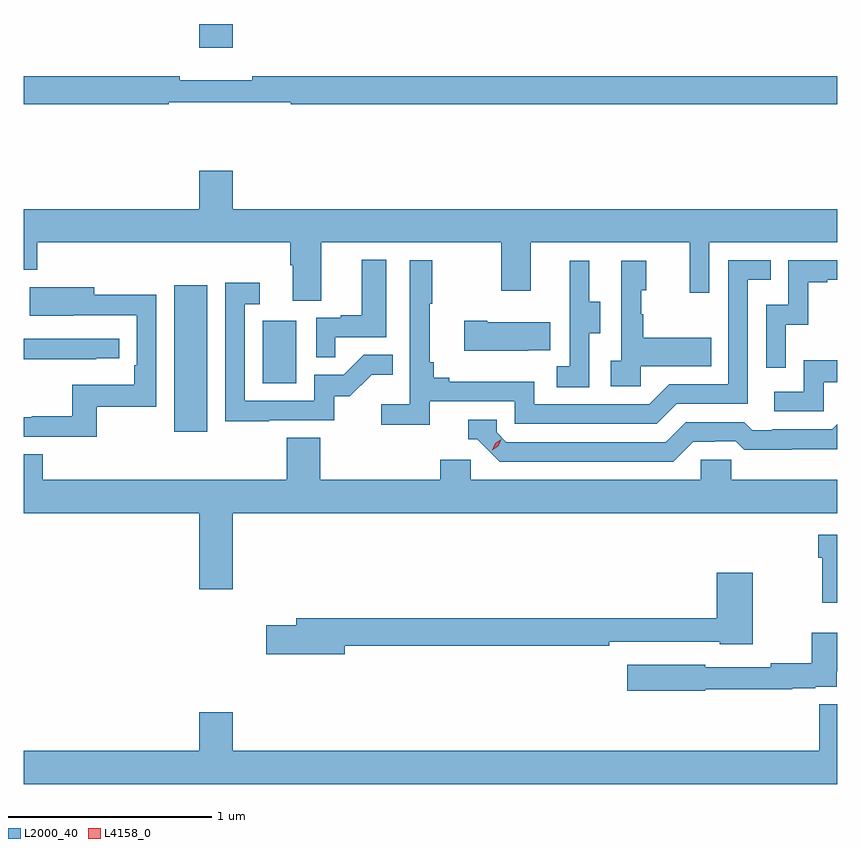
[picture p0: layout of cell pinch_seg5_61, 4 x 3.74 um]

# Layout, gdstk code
import gdstk
lib = gdstk.Library(unit=1e-6, precision=1e-09)
def R(c, l, rs):  # rectangles x0, y0, x1, y1
    for r in rs: c.add(gdstk.rectangle(r[:2], r[2:], *l))
def P(c, l, *ps):  # polygons
    for p in ps: c.add(gdstk.Polygon(p, *l))
L2000_40 = (2000, 40)
L4158_0 = (4158, 0)

pinch_seg5_61 = lib.new_cell('pinch_seg5_61')
R(pinch_seg5_61, L2000_40, [(1063.985,901.116,1064.146,901.837), (1064.42,901.356,1064.584,901.663), (1064.108,903.006,1064.272,903.122)])
P(pinch_seg5_61, L2000_40, [(1063.958,902.736),(1064.558,902.736),(1064.558,902.728),(1067.245,902.728),(1067.245,902.864),(1064.368,902.864),(1064.368,902.845),(1064.012,902.845),(1064.012,902.864),(1063.245,902.864),(1063.245,902.728),(1063.958,902.728)],
  [(1064.707,902.048),(1065.592,902.048),(1065.592,901.809),(1065.739,901.809),(1065.739,902.048),(1066.52,902.048),(1066.52,901.8),(1066.617,901.8),(1066.617,902.048),(1067.245,902.048),(1067.245,902.212),(1064.272,902.212),(1064.272,902.401),(1064.108,902.401),(1064.108,902.212),(1063.245,902.212),(1063.245,901.913),(1063.31,901.913),(1063.31,902.048),(1064.555,902.048),(1064.555,901.936),(1064.567,901.936),(1064.567,901.762),(1064.707,901.762)],
  [(1064.777,901.581),(1065.028,901.581),(1065.028,901.963),(1064.906,901.963),(1064.906,901.69),(1064.803,901.69),(1064.803,901.677),(1064.682,901.677),(1064.682,901.483),(1064.777,901.483)],
  [(1065.242,901.266),(1065.66,901.266),(1065.66,901.155),(1066.357,901.155),(1066.456,901.254),(1066.806,901.254),(1066.806,901.863),(1066.919,901.863),(1066.919,901.959),(1066.71,901.959),(1066.71,901.35),(1066.419,901.35),(1066.32,901.251),(1065.756,901.251),(1065.756,901.363),(1065.337,901.363),(1065.337,901.382),(1065.26,901.382),(1065.26,901.459),(1065.241,901.459),(1065.241,901.747),(1065.253,901.747),(1065.253,901.96),(1065.144,901.96),(1065.144,901.252),(1065.003,901.252),(1065.003,901.15),(1065.242,901.15)],
  [(1066.992,901.643),(1067.102,901.643),(1067.102,901.851),(1067.197,901.851),(1067.197,901.863),(1067.245,901.863),(1067.245,901.959),(1067.004,901.959),(1067.004,901.74),(1066.896,901.74),(1066.896,901.431),(1066.992,901.431)],
  [(1066.278,901.439),(1066.625,901.439),(1066.625,901.579),(1066.291,901.579),(1066.291,901.694),(1066.281,901.694),(1066.281,901.812),(1066.306,901.812),(1066.306,901.957),(1066.182,901.957),(1066.182,901.466),(1066.131,901.466),(1066.131,901.341),(1066.278,901.341)],
  [(1066.026,901.6),(1066.081,901.6),(1066.081,901.755),(1066.027,901.755),(1066.027,901.957),(1065.929,901.957),(1065.929,901.743),(1065.93,901.743),(1065.93,901.439),(1065.867,901.439),(1065.867,901.336),(1066.026,901.336)],
  [(1064.453,901.173),(1064.772,901.173),(1064.772,901.29),(1064.848,901.29),(1064.955,901.397),(1065.059,901.397),(1065.059,901.496),(1064.916,901.496),(1064.818,901.398),(1064.673,901.398),(1064.673,901.269),(1064.331,901.269),(1064.331,901.743),(1064.404,901.743),(1064.404,901.849),(1064.235,901.849),(1064.235,901.168),(1064.453,901.168)],
  [(1063.603,901.239),(1063.896,901.239),(1063.896,901.79),(1063.591,901.79),(1063.591,901.828),(1063.273,901.828),(1063.273,901.688),(1063.487,901.688),(1063.487,901.689),(1063.8,901.689),(1063.8,901.444),(1063.787,901.444),(1063.787,901.348),(1063.482,901.348),(1063.482,901.193),(1063.285,901.193),(1063.285,901.188),(1063.245,901.188),(1063.245,901.092),(1063.603,901.092)],
  [(1065.725,901.517),(1065.833,901.517),(1065.833,901.654),(1065.523,901.654),(1065.523,901.662),(1065.411,901.662),(1065.411,901.514),(1065.725,901.514)],
  [(1063.601,901.479),(1063.714,901.479),(1063.714,901.575),(1063.245,901.575),(1063.245,901.474),(1063.601,901.474)],
  [(1067.178,901.359),(1067.245,901.359),(1067.245,901.468),(1067.082,901.468),(1067.082,901.314),(1066.935,901.314),(1066.935,901.218),(1067.178,901.218)],
  [(1066.537,901.068),(1066.644,901.068),(1066.644,901.071),(1066.747,901.071),(1066.789,901.029),(1067.022,901.029),(1067.022,901.031),(1067.245,901.031),(1067.245,901.153),(1067.22,901.128),(1066.927,901.128),(1066.927,901.125),(1066.828,901.125),(1066.789,901.164),(1066.5,901.164),(1066.401,901.065),(1065.618,901.065),(1065.57,901.113),(1065.57,901.176),(1065.431,901.176),(1065.431,901.08),(1065.474,901.08),(1065.585,900.969),(1066.438,900.969)],
  [(1064.272,900.716),(1067.245,900.716),(1067.245,900.88),(1066.725,900.88),(1066.725,900.978),(1066.575,900.978),(1066.575,900.88),(1065.444,900.88),(1065.444,900.978),(1065.293,900.978),(1065.293,900.88),(1064.702,900.88),(1064.702,901.088),(1064.537,901.088),(1064.537,900.88),(1063.337,900.88),(1063.337,901.007),(1063.245,901.007),(1063.245,900.716),(1064.108,900.716),(1064.108,900.342),(1064.272,900.342)],
  [(1067.245,900.61),(1067.152,900.61),(1067.152,900.497),(1067.172,900.497),(1067.172,900.275),(1067.245,900.275)],
  [(1064.824,900.064),(1066.124,900.064),(1066.124,900.084),(1066.668,900.084),(1066.668,900.071),(1066.83,900.071),(1066.83,900.424),(1066.652,900.424),(1066.652,900.2),(1064.585,900.2),(1064.585,900.164),(1064.436,900.164),(1064.436,900.022),(1064.824,900.022)],
  [(1066.596,899.85),(1067.024,899.85),(1067.024,899.856),(1067.138,899.856),(1067.138,899.862),(1067.242,899.862),(1067.242,899.939),(1067.245,899.939),(1067.245,900.127),(1067.12,900.127),(1067.12,899.978),(1066.918,899.978),(1066.918,899.958),(1066.596,899.958),(1066.596,899.971),(1066.212,899.971),(1066.212,899.842),(1066.596,899.842)],
  [(1067.245,899.777),(1067.158,899.777),(1067.158,899.548),(1064.272,899.548),(1064.272,899.737),(1064.108,899.737),(1064.108,899.548),(1063.245,899.548),(1063.245,899.384),(1067.245,899.384)])
P(pinch_seg5_61, L4158_0, [(1065.548,901.026),(1065.548,901.026),(1065.563,901.059),(1065.594,901.079),(1065.594,901.079),(1065.594,901.079),(1065.578,901.046),(1065.548,901.026)])

lib.write_gds('pinch_seg5_61.gds')
